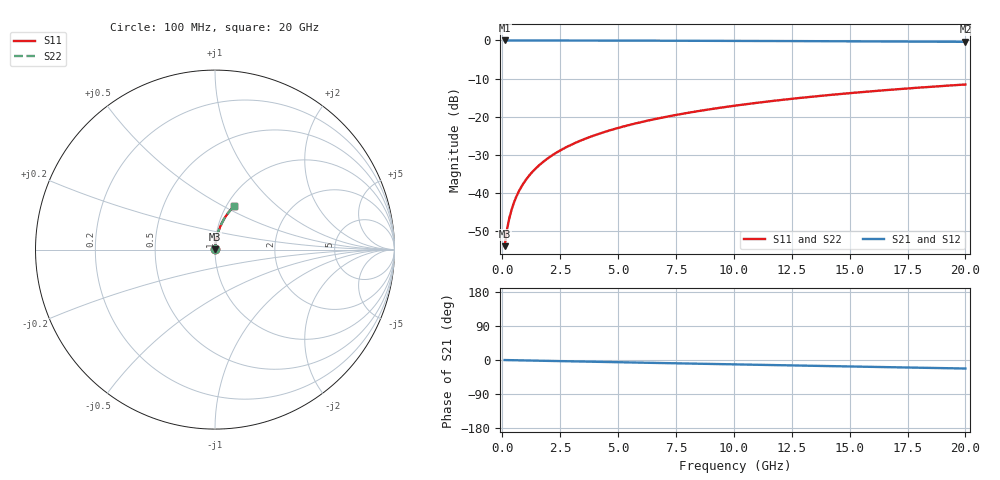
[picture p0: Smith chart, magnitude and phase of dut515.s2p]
! Touchstone file exported from HFSS 2026.1.0
!  File:  C:/ffzhzh/LocalFiles/Ansys_Project_Files/temp_train_TMRDL_515_1783006998_55676.aedt
!  Generated:  11:44:43 PM Jul  2, 2026
!  Design:  TMRDL
!  Project:  temp_train_TMRDL_515_1783006998_55676
! Variables:
!  h_bsmrdl = 2um
!  h_ox = 20um
!  h_rdl = 5um
!  h_sub = 80um
!  h_tmrdl = 5.42um
!  h_tsv = 80um
!  h_via = 3um
!  l_bsmrdl = 300um
!  l_sub = 664.01um
!  l_tmrdl = 264.01um
!  m_sub = 200um
!  pitch = 50.35um
!  r_tsv = 6um
!  s_tmrdl = 10um
!  w_bsmrdl = 18um
!  w_sub = 500um
!  w_tmrdl = 13.74um
!  x_tsv_center1 = 270.88um
!  x_tsv_center2 = 588.88um
!  x_tsv_center3 = 866.63um
!  x_tsv_center4 = 1184.63um
!  x_tsv_center5 = 1462.38um
!  x_tsv_center6 = 1780.38um
# GHz S MA R 50.000000
! Terminal data exported
! Port[1] = TM_RDL1_1_T1
! Port[2] = TM_RDL1_1_T2
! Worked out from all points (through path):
!   200 points, 100 MHz to 20 GHz, reference 50 ohm
!   highest |S21| = -0.01 dB at 100 MHz (marker M1); lowest = -0.4 dB at 20 GHz (marker M2)
!   group delay of S21, straight-line fit = 3.12 ps
!   lowest |S11| = -53.9 dB at 100 MHz (marker M3), VSWR 1.00, Z = 50.1 + j0.151 ohm
!   |S11| at or under -10 dB: start of sweep to end of sweep
!   |S22| runs from -53.9 to -11.5 dB; largest |S21 - S12| = 4.1e-15
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0.1  0.002027 48.0  0.9986 -0.1  0.9986 -0.1  0.002027 48.0
! Gamma 0 0 0 0
! Port Impedance 50 0 50 0
0.2  0.003296 64.8  0.9986 -0.2  0.9986 -0.2  0.003297 64.8
0.3  0.00467 71.9  0.9986 -0.4  0.9986 -0.4  0.00467 71.9
0.4  0.006076 75.7  0.9985 -0.5  0.9985 -0.5  0.006076 75.7
0.5  0.007497 78.1  0.9985 -0.6  0.9985 -0.6  0.007497 78.1
0.7  0.01036 80.8  0.9984 -0.8  0.9984 -0.8  0.01036 80.8
0.8  0.01181 81.6  0.9984 -1.0  0.9984 -1.0  0.01181 81.6
1  0.01469 82.7  0.9983 -1.2  0.9983 -1.2  0.01469 82.7
1.2  0.01758 83.3  0.9982 -1.4  0.9982 -1.4  0.01758 83.3
1.4  0.02047 83.7  0.9981 -1.7  0.9981 -1.7  0.02047 83.7
1.7  0.0248 83.9  0.9979 -2.0  0.9979 -2.0  0.0248 83.9
2  0.02912 84.0  0.9977 -2.4  0.9977 -2.4  0.02912 84.0
2.7  0.03913 83.7  0.9971 -3.2  0.9971 -3.2  0.03913 83.7
3.5  0.05048 83.1  0.9963 -4.1  0.9963 -4.1  0.05048 83.1
4.2  0.06031 82.5  0.9955 -4.9  0.9955 -4.9  0.06031 82.5
5  0.07146 81.7  0.9944 -5.9  0.9944 -5.9  0.07146 81.7
6.8  0.09623 79.9  0.9917 -7.9  0.9917 -7.9  0.09623 79.9
8.3  0.1166 78.4  0.9891 -9.6  0.9891 -9.6  0.1166 78.4
10.1  0.1406 76.5  0.9855 -11.7  0.9855 -11.7  0.1406 76.5
13.4  0.1837 73.0  0.9778 -15.3  0.9778 -15.3  0.1837 73.0
16.7  0.2252 69.6  0.9686 -18.9  0.9686 -18.9  0.2252 69.6
20  0.2649 66.2  0.9581 -22.5  0.9581 -22.5  0.2649 66.2
